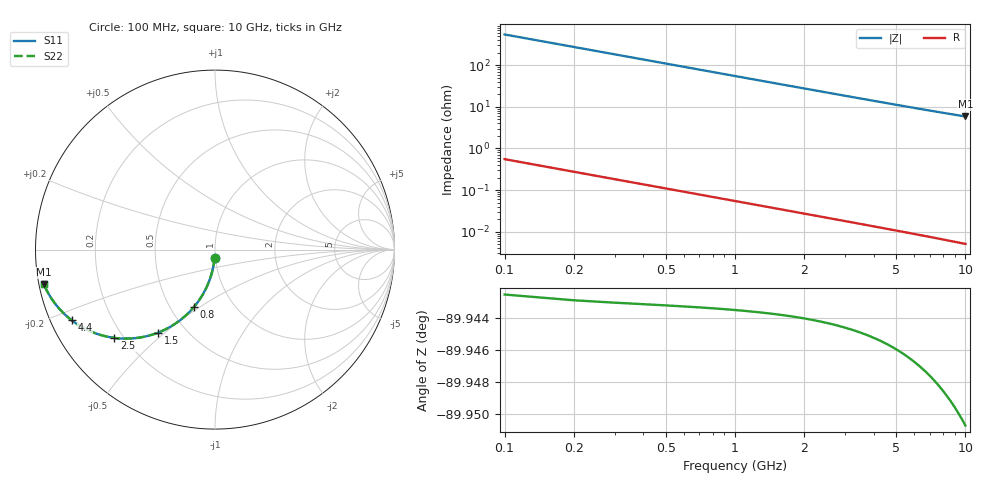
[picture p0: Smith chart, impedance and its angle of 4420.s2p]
# Hz S RI R 50.00
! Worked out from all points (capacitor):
!   100 points, 100 MHz to 10 GHz, reference 50 ohm
!   read as one part in shunt: C = 2.88 pF near 100 MHz
!   lowest |Z| = 5.88 ohm at 10 GHz (marker M1)
!   S11 on the Smith chart (normalised r, x): 100 MHz: 0.99, -0.09; 800 MHz: 0.66, -0.47; 1.5 GHz: 0.35, -0.48; 2.5 GHz: 0.17, -0.37; 4.4 GHz: 0.06, -0.23; 10 GHz: 0.01, -0.10
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1e8  -0.00207 -0.0451  0.9979 -0.0454  0.9979 -0.0454  -0.00207 -0.0451
2e8  -0.00821 -0.0896  0.9917 -0.0902  0.9917 -0.0902  -0.00821 -0.0896
3e8  -0.0182 -0.133  0.9817 -0.1339  0.9817 -0.1339  -0.0182 -0.133
4e8  -0.0319 -0.1748  0.968 -0.176  0.968 -0.176  -0.0319 -0.1748
5e8  -0.049 -0.2146  0.951 -0.2161  0.951 -0.2161  -0.049 -0.2146
6e8  -0.069 -0.2521  0.931 -0.2539  0.931 -0.2539  -0.069 -0.2521
8e8  -0.1163 -0.3188  0.8837 -0.3213  0.8837 -0.3213  -0.1163 -0.3188
9e8  -0.1427 -0.3479  0.8573 -0.3506  0.8573 -0.3506  -0.1427 -0.3479
1.1e9  -0.1989 -0.397  0.801 -0.4004  0.801 -0.4004  -0.1989 -0.397
1.3e9  -0.2574 -0.4347  0.7426 -0.4387  0.7426 -0.4387  -0.2574 -0.4347
1.5e9  -0.3156 -0.4619  0.6844 -0.4666  0.6844 -0.4666  -0.3156 -0.4619
1.8e9  -0.3987 -0.4864  0.6012 -0.4919  0.6012 -0.4919  -0.3987 -0.4864
2.1e9  -0.4742 -0.4956  0.5258 -0.5021  0.5258 -0.5021  -0.4742 -0.4956
2.5e9  -0.5607 -0.4919  0.4392 -0.4997  0.4392 -0.4997  -0.5607 -0.4919
2.9e9  -0.6318 -0.4773  0.3681 -0.4863  0.3681 -0.4863  -0.6318 -0.4773
3.4e9  -0.7021 -0.4515  0.2978 -0.4621  0.2978 -0.4621  -0.7021 -0.4515
3.9e9  -0.756 -0.4228  0.2439 -0.435  0.2439 -0.435  -0.756 -0.4228
4.4e9  -0.7977 -0.3943  0.2022 -0.4081  0.2022 -0.4081  -0.7977 -0.3943
5.1e9  -0.8412 -0.3568  0.1586 -0.373  0.1586 -0.373  -0.8412 -0.3568
6.7e9  -0.9016 -0.2864  0.0981 -0.3079  0.0981 -0.3079  -0.9016 -0.2864
8.4e9  -0.9354 -0.2313  0.0642 -0.2586  0.0642 -0.2586  -0.9354 -0.2313
1e10  -0.9538 -0.1923  0.0456 -0.2251  0.0456 -0.2251  -0.9538 -0.1923
